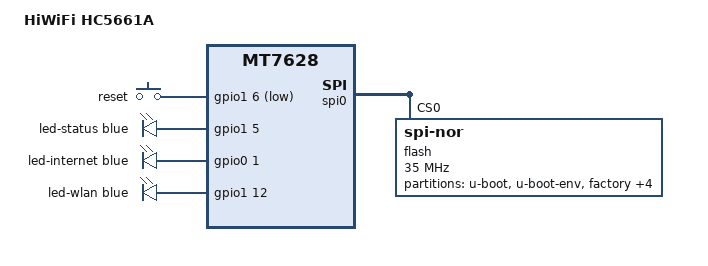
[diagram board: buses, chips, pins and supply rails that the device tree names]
// SPDX-License-Identifier: GPL-2.0-or-later

/dts-v1/;

#include "mt7628a.dtsi"

#include <dt-bindings/gpio/gpio.h>
#include <dt-bindings/input/input.h>
#include <dt-bindings/leds/common.h>

/ {
	compatible = "hiwifi,hc5661a", "mediatek,mt7628-soc";
	model = "HiWiFi HC5661A";

	/delete-node/ clock-48m;
	/delete-node/ watchdog@10000100;
	/delete-node/ serial@10000d00;
	/delete-node/ serial@10000e00;
	/delete-node/ usb-phy@10120000;
	/delete-node/ ehci@101c0000;
	/delete-node/ mmc@10130000;

	aliases {
		serial0 = &uart0;
		spi0 = &spi0;
	};

	chosen {
		stdout-path = "serial0:115200n8";
	};

	gpio-keys {
		compatible = "gpio-keys";

		button-reset {
			label = "reset";
			linux,code = <KEY_RESTART>;
			gpios = <&gpio1 6 GPIO_ACTIVE_LOW>;
		};
	};

	gpio-leds {
		compatible = "gpio-leds";

		led-status {
			color = <LED_COLOR_ID_BLUE>;
			function = LED_FUNCTION_STATUS;
			gpios = <&gpio1 5 GPIO_ACTIVE_HIGH>;
			default-state = "on";
		};

		led-internet {
			color = <LED_COLOR_ID_BLUE>;
			function = "internet";
			gpios = <&gpio0 1 GPIO_ACTIVE_HIGH>;
			default-state = "off";
		};

		led-wlan {
			color = <LED_COLOR_ID_BLUE>;
			function = LED_FUNCTION_WLAN;
			gpios = <&gpio1 12 GPIO_ACTIVE_HIGH>;
			default-state = "off";
		};
	};

	options {
		u-boot {
			compatible = "u-boot,config";
			boot-btn1 = "reset";
			boot-led1 = "blue:status";
			bootcmd_1-1 = "tftp_boot_ik";
			bootcmd_1-2 = "tftp_update_fw";
			bootcmd_1-3 = "switch_console";
			bootcmd_1-4 = "env init";
		};
	};
};

&eth {
	mediatek,wan-port = <4>;

	pinctrl-names = "default";
	pinctrl-0 = <&ephy_router_mode>;
};

&pinctrl {
	pinctrl-0 = <&state_default>, <&sd_router_mode>;

	/delete-node/ spi_dual_pins;
	/delete-node/ uart1_pins;
	/delete-node/ uart2_pins;
	/delete-node/ uart2_pwm_pins;
	/delete-node/ i2c_pins;
	/delete-node/ ephy_iot_mode;
	/delete-node/ sd_iot_mode;
	/delete-node/ emmc_iot_8bit_mode;
};

&spi0 {
	flash@0 {
		compatible = "jedec,spi-nor";
		reg = <0>;
		spi-max-frequency = <35000000>;

		partitions {
			compatible = "fixed-partitions";
			#address-cells = <1>;
			#size-cells = <1>;

			partition@0 {
				label = "u-boot";
				reg = <0x000000 0x030000>;
			};

			partition@30000 {
				label = "u-boot-env";
				reg = <0x030000 0x010000>;
			};

			partition@40000 {
				label = "factory";
				reg = <0x040000 0x010000>;
			};

			partition@50000 {
				label = "firmware";
				reg = <0x50000 0xf70000>;
			};

			partition@fc0000 {
				label = "oem";
				reg = <0xfc0000 0x020000>;
			};

			partition@fe0000 {
				label = "bdinfo";
				reg = <0xfe0000 0x010000>;
			};

			partition@ff0000 {
				label = "backup";
				reg = <0xff0000 0x010000>;
			};
		};
	};
};

&state_default {
	gpios {
		groups = "spis", "spi cs1", "wdt", "perst", "refclk", "uart2", "pwm0", "pwm1", \
			 "wled_a", "p0led_a", "p1led_a", "p2led_a", "p3led_a", "p4led_a";
		function = "gpio";
	};
};
